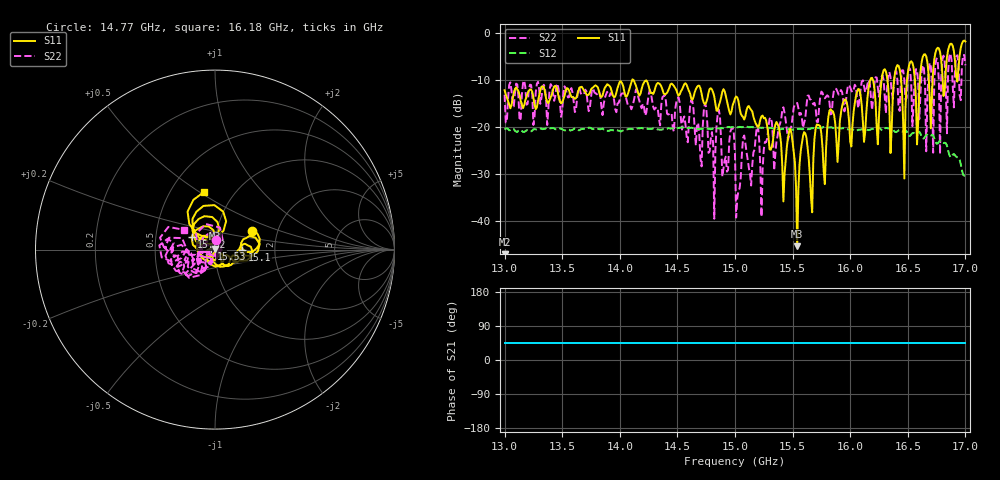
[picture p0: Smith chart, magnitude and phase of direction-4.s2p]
!Keysight Technologies,P9374A,MY57211810,A.19.30.04
!Date: Friday, May 02, 2025 08:57:20
!Correction: S11(Off)
!S21(Off)
!S12(Off)
!S22(Off)
!S2P File: Measurements: S11, S21, S12, S22:
# Hz S  dB  R 50
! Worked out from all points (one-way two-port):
!   401 points, 13 GHz to 17 GHz, reference 50 ohm
!   highest |S21| = - dB at 13 GHz (marker M1); lowest = - dB at 13 GHz (marker M2)
!   lowest |S11| = -45.4 dB at 15.54 GHz (marker M3), VSWR 1.01, Z = 50.1 + j0.532 ohm
!   |S11| at or under -10 dB: start of sweep to 14.11 GHz; 14.11 GHz to 16.18 GHz (2.061 GHz wide, 13.6 % of centre); 16.19565 GHz to 16.27305 GHz (77.4 MHz wide, 0.477 % of centre) (the widest 3 of 9)
!   |S22| runs from -39.5 to -4.4 dB; largest |S21 - S12| = 0.1
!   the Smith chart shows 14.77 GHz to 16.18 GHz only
!   S11 on the Smith chart (normalised r, x): 14.77 GHz: 1.47, +0.33; 15.1 GHz: 1.35, -0.01; 15.53 GHz: 0.96, +0.01; 15.82 GHz: 0.76, +0.11; 16.18 GHz: 0.73, +0.52
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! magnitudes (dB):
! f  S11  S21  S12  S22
! 13 GHz  -12.3  -  -20.6  -13.2
! 13.67 GHz  -11.5  -  -20.5  -13.2
! 14.34 GHz  -10.8  -  -20.6  -18.4
! 14.77 GHz  -12.8  -  -20.5  -25.5
! 15 GHz  -14.0  -  -20.1  -26.0
! 15.1 GHz  -16.5  -  -20.0  -25.4
! 15.43 GHz  -30.1  -  -20.4  -17.0
! 15.48 GHz  -20.4  -  -20.5  -20.5
! 15.53 GHz  -32.9  -  -20.6  -15.1
! 15.54 GHz  -45.4  -  -20.5  -14.9
! 15.6 GHz  -21.1  -  -20.5  -19.3
! 15.67 GHz  -38.2  -  -20.3  -14.8
! 15.82 GHz  -16.6  -  -20.2  -14.8
! 16.12 GHz  -23.2  -  -20.5  -11.3
! 16.18 GHz  -9.7  -  -20.6  -13.8
! 16.34 GHz  -15.9  -  -20.4  -8.4
! 16.41 GHz  -6.9  -  -21.0  -10.2
! 16.47 GHz  -31.0  -  -20.8  -10.0
! 16.52 GHz  -6.3  -  -21.9  -7.8
! 16.58 GHz  -23.8  -  -21.4  -7.8
! 16.64 GHz  -4.7  -  -22.5  -7.6
! 17 GHz  -1.9  -  -30.1  -7.0
